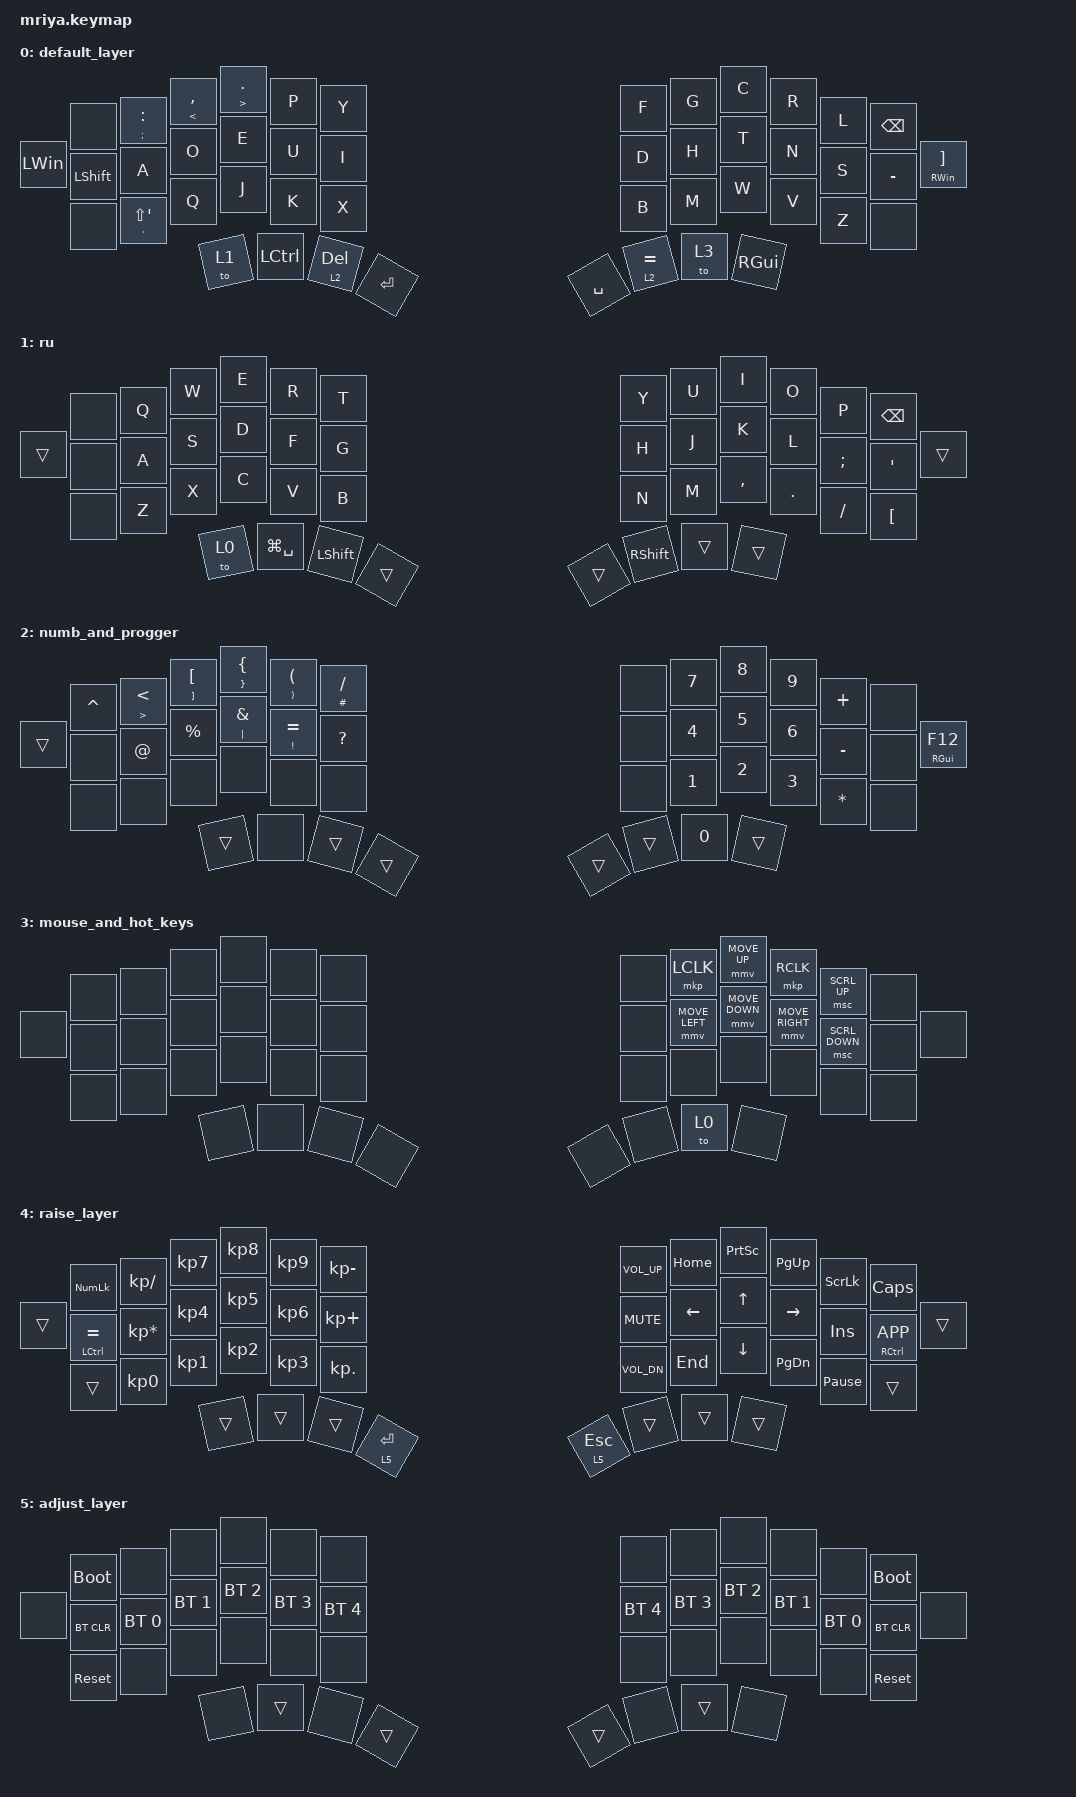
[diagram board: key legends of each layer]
/*
 * Copyright (c) 2023 Andrei Gaevskii
 *
 * SPDX-License-Identifier: MIT
 */

#include <behaviors.dtsi>
#include <dt-bindings/zmk/bt.h>
#include <dt-bindings/zmk/keys.h>
#include <dt-bindings/zmk/pointing.h>

#define DEF 0
#define LWR 1
#define RSE 2
#define ADJ 3

&lt { quick_tap_ms = <200>; };

&mt { quick_tap_ms = <200>; };

&mmv {
};

&msc {
};

&tog {
};

&sl {
};

&kt {
};

/ {
    keymap {
        compatible = "zmk,keymap";

        default_layer {
            bindings = <
&kp LWIN  &none           &mt SEMICOLON COLON  &mt LESS_THAN COMMA  &mt GREATER_THAN PERIOD  &kp P         &kp Y        &kp F      &kp G        &kp C  &kp R          &kp L  &kp BACKSPACE  &mt RWIN RBKT
          &kp LEFT_SHIFT  &kp A                &kp O                &kp E                    &kp U         &kp I        &kp D      &kp H        &kp T  &kp N          &kp S  &kp MINUS
          &none           &mt SQT LS(SQT)      &kp Q                &kp J                    &kp K         &kp X        &kp B      &kp M        &kp W  &kp V          &kp Z  &none
                                               &to 1                &kp LEFT_CONTROL         &lt 2 DELETE  &kp ENTER    &kp SPACE  &lt 2 EQUAL  &to 3  &kp RIGHT_GUI
            >;
        };

        ru {
            bindings = <
&trans  &none  &kp Q  &kp W  &kp E          &kp R           &kp T     &kp Y   &kp U            &kp I      &kp O    &kp P     &kp BACKSPACE  &trans
        &none  &kp A  &kp S  &kp D          &kp F           &kp G     &kp H   &kp J            &kp K      &kp L    &kp SEMI  &kp APOS
        &none  &kp Z  &kp X  &kp C          &kp V           &kp B     &kp N   &kp M            &kp COMMA  &kp DOT  &kp FSLH  &kp LBKT
                      &to 0  &kp LG(SPACE)  &kp LEFT_SHIFT  &trans    &trans  &kp RIGHT_SHIFT  &trans     &trans
            >;
        };

        numb_and_progger {
            bindings = <
&trans  &kp CARET  &mt GREATER_THAN LESS_THAN  &mt RIGHT_BRACKET LEFT_BRACKET  &mt RIGHT_BRACE LEFT_BRACE  &mt RIGHT_PARENTHESIS LEFT_PARENTHESIS  &mt HASH SLASH    &none   &kp N7        &kp N8        &kp N9        &kp PLUS      &none  &mt RGUI F12
        &none      &kp AT                      &kp PERCENT                     &mt PIPE AMPERSAND          &mt EXCLAMATION EQUAL                   &kp QUESTION      &none   &kp NUMBER_4  &kp N5        &kp NUMBER_6  &kp MINUS     &none
        &none      &none                       &none                           &none                       &none                                   &none             &none   &kp NUMBER_1  &kp NUMBER_2  &kp NUMBER_3  &kp ASTERISK  &none
                                               &trans                          &none                       &trans                                  &trans            &trans  &trans        &kp N0        &trans
            >;
        };

        mouse_and_hot_keys {
            bindings = <
&none  &none  &none  &none  &none  &none  &none    &none  &mkp LCLK       &mmv MOVE_UP    &mkp RCLK        &msc SCRL_UP    &none  &none
       &none  &none  &none  &none  &none  &none    &none  &mmv MOVE_LEFT  &mmv MOVE_DOWN  &mmv MOVE_RIGHT  &msc SCRL_DOWN  &none
       &none  &none  &none  &none  &none  &none    &none  &none           &none           &none            &none           &none
                     &none  &none  &none  &none    &none  &none           &to 0           &none
            >;
        };

        raise_layer {
            bindings = <
&trans  &kp KP_NUM       &kp KP_SLASH     &kp KP_N7  &kp KP_N8  &kp KP_N9  &kp KP_MINUS    &kp C_VOL_UP  &kp HOME  &kp PSCRN  &kp PG_UP  &kp SLCK         &kp CAPS         &trans
        &mt LCTRL EQUAL  &kp KP_MULTIPLY  &kp KP_N4  &kp KP_N5  &kp KP_N6  &kp KP_PLUS     &kp C_MUTE    &kp LEFT  &kp UP     &kp RIGHT  &kp INS          &mt RCTRL K_APP
        &trans           &kp KP_N0        &kp KP_N1  &kp KP_N2  &kp KP_N3  &kp KP_DOT      &kp C_VOL_DN  &kp END   &kp DOWN   &kp PG_DN  &kp PAUSE_BREAK  &trans
                                          &trans     &trans     &trans     &lt 5 RET       &lt 5 ESC     &trans    &trans     &trans
            >;
        };

        adjust_layer {
            bindings = <
&none  &bootloader  &none         &none         &none         &none         &none           &none         &none         &none         &none         &none         &bootloader  &none
       &bt BT_CLR   &bt BT_SEL 0  &bt BT_SEL 1  &bt BT_SEL 2  &bt BT_SEL 3  &bt BT_SEL 4    &bt BT_SEL 4  &bt BT_SEL 3  &bt BT_SEL 2  &bt BT_SEL 1  &bt BT_SEL 0  &bt BT_CLR
       &sys_reset   &none         &none         &none         &none         &none           &none         &none         &none         &none         &none         &sys_reset
                                  &none         &trans        &none         &trans          &trans        &none         &trans        &none
            >;
        };

        extra1 { status = "reserved"; };

        extra2 { status = "reserved"; };

        extra3 { status = "reserved"; };
    };
};
